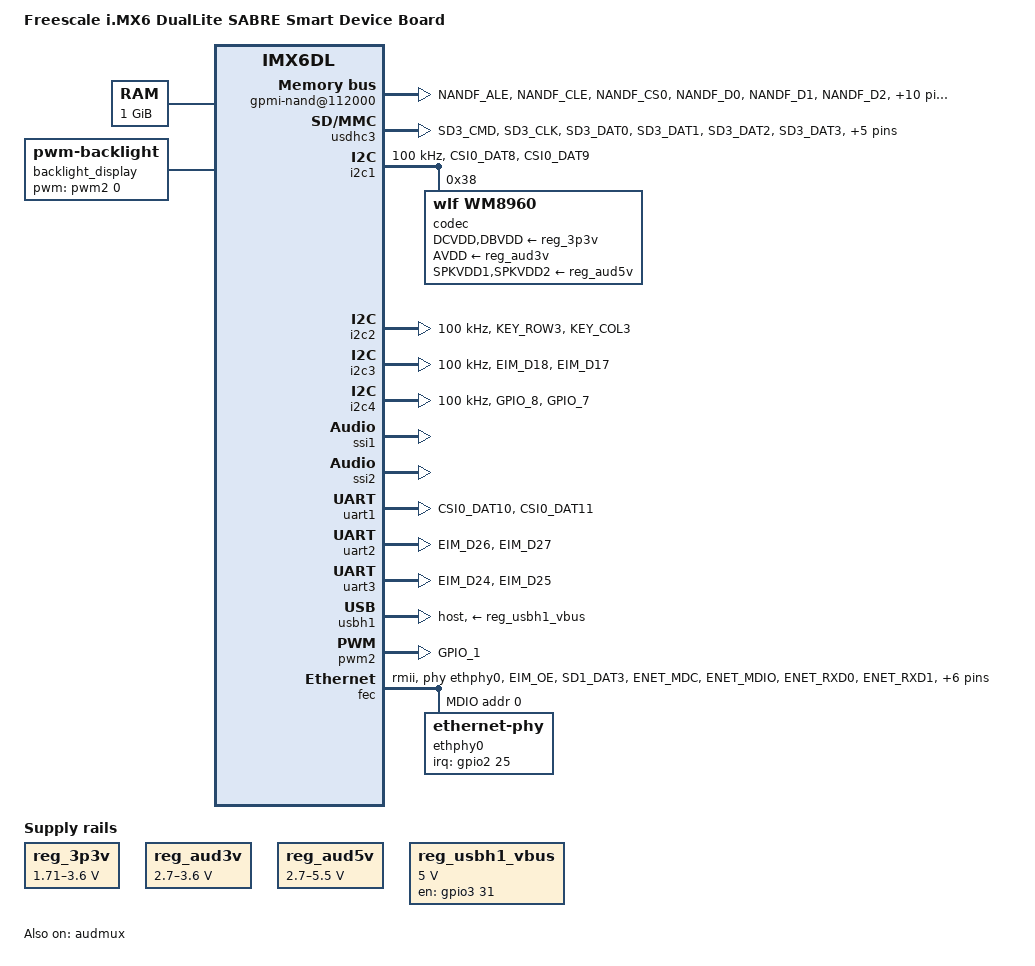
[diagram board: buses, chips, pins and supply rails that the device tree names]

/dts-v1/;
/*#include "imx6dl-onpoom.dtsi"*/
#include "imx6dl.dtsi"
#include <dt-bindings/gpio/gpio.h>
#include <dt-bindings/sound/fsl-imx-audmux.h>
#include "imx6dl-pinfunc.h"

/ {
	model = "Freescale i.MX6 DualLite SABRE Smart Device Board";
	compatible = "fsl,imx6dl-sabresd", "fsl,imx6dl";

	chosen {
        bootargs = "console=ttymxc0,115200 ubi.mtd=2 root=ubi0:rootfs rootfstype=ubifs rootwait rw rootflags=sync mtdparts=gpmi-nand:20m(boot),20m(kernel),400m(rootfs) gpmi_debug_init";
	};

	chosen {
		stdout-path = "serial1:115200n8";
	};

	memory@10000000 {
		reg = <0x10000000 0x40000000>;
	};

	soc {	/* IMAGE PARTITION */
		gpmi-nand@112000 {
			pinctrl-names = "default";
			pinctrl-0 = <&pinctrl_gpmi>;
			status = "okay";

			partition@0 {
				lable = "u-boot";
				reg = <0x0 0x1400000>;
			};

			partition@1400000 {
				lable = "kernel";
				reg = <0x1400000 0x1400000>;
			};

			partition@2800000 {
				lable = "ubifs";
				reg = <0x2800000 0x0>;
			};
		};
	};

	backlight_display: backlight_display {
		compatible = "pwm-backlight";
		pwms = <&pwm2 0 500000000>;
		brightness-levels = <0 4 8 16 32 64 128 255>;
		default-brightness-level = <6>;
	};

	sound {
		compatible = "simple-audio-card";
		simple-audio-card,name = "wm8960-audio";
		simple-audio-card,format = "i2s";
		simple-audio-card,bitclock-master = <&sound_cpu>;
		simple-audio-card,frame-master = <&sound_cpu>;
		simple-audio-card,system-clock-direction-out;
		simple-audio-card,widgets = 
			"Line", "Line In",
			"Line", "Line Out",
			"Speaker", "Ext Spk";
		simple-audio-card,routing =
			"Ext Spk", "HP_L",
			"Ext Spk", "HP_R";

		sound_cpu: simple-audio-card,cpu {
			sound-dai = <&ssi1>;
			system-clock-frequency = <883200>;
			system-clock-direction-out;	  /* 2019.06.24 add by pwk */
			dai-tdm-slot-num = <2>;
			dai-tdm-slot-width = <16>;
			clocks = <&clks IMX6QDL_CLK_SSI1>;
		};

		dailink_slave: simple-audio-card,codec {
			sound-dai = <&codec>;
			system-clock-direction-out;	  /* 2019.06.24 add by pwk */
			clocks = <&clks IMX6QDL_CLK_CKO>;
			clock-names = "mclk";
		};
	};

	clk3686400: clk-uart {
		compatible = "fixed-clock";
		#clock-cells = <0>;
		clock-frequency = <3686400>;
	};

	clk14745600: clock@0 {
		#clock-cells = <0>;
		compatible = "fixed-clock";
		clock-frequency = <14745600>;
	};

#if 0
	reg_usb_h1_vbus: regulator-usb-h1-vbus {
		compatible = "regulator-fixed";
		regulator-name = "usb_h1_vbus";
		regulator-min-microvolt = <5000000>;
		regulator-max-microvolt = <5000000>;
		regulator-boot-on;
		regulator-always-on;
	};
#endif
	reg_3p3v: regulator-3p3v {
		compatible = "regulator-fixed";
		regulator-name = "3P3V";
		regulator-min-microvolt = <1710000>;
		regulator-max-microvolt = <3600000>;
		regulator-boot-on;
	};

	reg_aud3v: regulator-aud3v {
		compatible = "regulator-fixed";
		regulator-name = "AUD3V";
		regulator-min-microvolt = <2700000>;
		regulator-max-microvolt = <3600000>;
		regulator-boot-on;
	};
	
	reg_aud5v: regulator-aud5v {
		compatible = "regulator-fixed";
		regulator-name = "AUD5V";
		regulator-min-microvolt = <2700000>;
		regulator-max-microvolt = <5500000>;
		regulator-boot-on;
	};

	reg_usbh1_vbus: regulator-usbh1-vbus {
		compatible = "regulator-fixed";
		enable-active-high;
		gpio = <&gpio3 31 GPIO_ACTIVE_HIGH>;
		pinctrl-names = "default";
		pinctrl-0 = <&pinctrl_usbh1_vbus>;
		regulator-name = "usb_h1_vbus";
		regulator-min-microvolt = <5000000>;
		regulator-max-microvolt = <5000000>;
		regulator-boot-on;
		regulator-always-on;
	};


};

#if 1
#else
&weim {
	pinctrl-names = "default";
	pinctrl-0 = <&pinctrl_weimcs &pinctrl_weimdev>;
	/*ranges = <0 0 0x8000000 0x0F00000>,
			<1 0 0xC000000 0x0400000>;*/
	status = "okay";

	uart8250@0,0 {
		pinctrl-names = "default";
		pinctrl-0 = <&pinctrl_uart8250_1a>;
		compatible = "ns8250";
		clocks = <&clk14745600>;
		fsl,weim-cs-timing = <0x0000d603 0x0d1d0d01 0x00d20000>;
		reg = <0 0x0 0x1000>;
		reg-shift = <1>;
		reg-io-width = <1>;
		interrupts = <&gpio4 5 IRQ_TYPE_LEVEL_LOW>;
		no-loopback-test;
	};

	uart8250@0,100000 {
		pinctrl-names = "default";
		pinctrl-0 = <&pinctrl_uart8250_1b>;
		compatible = "ns8250";
		clocks = <&clk14745600>;
		fsl,weim-cs-timing = <0x0000d603 0x0d1d0d01 0x00d20000>;
		reg = <0 0x100000 0x1000>;
		reg-shift = <1>;
		reg-io-width = <1>;
		interrupts = <&gpio4 6 IRQ_TYPE_LEVEL_LOW>;
		no-loopback-test;
	};

	uart8250@0,200000 {
		pinctrl-names = "default";
		pinctrl-0 = <&pinctrl_uart8250_1c>;
		compatible = "ns8250";
		clocks = <&clk14745600>;
		fsl,weim-cs-timing = <0x0000d603 0x0d1d0d01 0x00d20000>;
		reg = <0 0x200000 0x1000>;
		reg-shift = <1>;
		reg-io-width = <1>;
		interrupts = <&gpio4 7 IRQ_TYPE_LEVEL_LOW>;
		no-loopback-test;
	};

	uart8250@0,300000 {
		pinctrl-names = "default";
		pinctrl-0 = <&pinctrl_uart8250_1d>;
		compatible = "ns8250";
		clocks = <&clk14745600>;
		fsl,weim-cs-timing = <0x0000d603 0x0d1d0d01 0x00d20000>;
		reg = <0 0x300000 0x1000>;
		reg-shift = <1>;
		reg-io-width = <1>;
		interrupts = <&gpio3 23 IRQ_TYPE_LEVEL_LOW>;
		no-loopback-test;
	};

	uart8250@0,400000 {
		pinctrl-names = "default";
		pinctrl-0 = <&pinctrl_uart8250_2a>;
		compatible = "ns8250";
		clocks = <&clk14745600>;
		fsl,weim-cs-timing = <0x0000d603 0x0d1d0d01 0x00d20000>;
		reg = <0 0x400000 0x1000>;
		reg-shift = <1>;
		reg-io-width = <1>;
		interrupts = <&gpio4 11 IRQ_TYPE_LEVEL_LOW>;
		no-loopback-test;
	};

	uart8250@0,500000 {
		pinctrl-names = "default";
		pinctrl-0 = <&pinctrl_uart8250_2b>;
		compatible = "ns8250";
		clocks = <&clk14745600>;
		fsl,weim-cs-timing = <0x0000d603 0x0d1d0d01 0x00d20000>;
		reg = <0 0x500000 0x1000>;
		reg-shift = <1>;
		reg-io-width = <1>;
		interrupts = <&gpio2 13 IRQ_TYPE_LEVEL_LOW>;
		no-loopback-test;
	};

	uart8250@0,600000 {
		pinctrl-names = "default";
		pinctrl-0 = <&pinctrl_uart8250_2c>;
		compatible = "ns8250";
		clocks = <&clk14745600>;
		fsl,weim-cs-timing = <0x0000d603 0x0d1d0d01 0x00d20000>;
		reg = <0 0x600000 0x1000>;
		reg-shift = <1>;
		reg-io-width = <1>;
		interrupts = <&gpio5 19 IRQ_TYPE_LEVEL_LOW>;
		no-loopback-test;
	};

	uart8250@0,700000 {
		pinctrl-names = "default";
		pinctrl-0 = <&pinctrl_uart8250_2d>;
		compatible = "ns8250";
		clocks = <&clk14745600>;
		fsl,weim-cs-timing = <0x0000d603 0x0d1d0d01 0x00d20000>;
		reg = <0 0x700000 0x1000>;
		reg-shift = <1>;
		reg-io-width = <1>;
		interrupts = <&gpio5 20 IRQ_TYPE_LEVEL_LOW>;
		no-loopback-test;
	};

	uart8250@0,800000 {
		pinctrl-names = "default";
		pinctrl-0 = <&pinctrl_uart8250_3a>;
		compatible = "ns8250";
		clocks = <&clk14745600>;
		fsl,weim-cs-timing = <0x0000d603 0x0d1d0d01 0x00d20000>;
		reg = <0 0x800000 0x1000>;
		reg-shift = <1>;
		reg-io-width = <1>;
		interrupts = <&gpio2 11 IRQ_TYPE_LEVEL_LOW>;
		no-loopback-test;
	};

	uart8250@0,900000 {
		pinctrl-names = "default";
		pinctrl-0 = <&pinctrl_uart8250_3b>;
		compatible = "ns8250";
		clocks = <&clk14745600>;
		fsl,weim-cs-timing = <0x0000d603 0x0d1d0d01 0x00d20000>;
		reg = <0 0x900000 0x1000>;
		reg-shift = <1>;
		reg-io-width = <1>;
		interrupts = <&gpio2 12 IRQ_TYPE_LEVEL_LOW>;
		no-loopback-test;
	};

	uart8250@0,A00000 {
		pinctrl-names = "default";
		pinctrl-0 = <&pinctrl_uart8250_3c>;
		compatible = "ns8250";
		clocks = <&clk14745600>;
		fsl,weim-cs-timing = <0x0000d603 0x0d1d0d01 0x00d20000>;
		reg = <0 0xA00000 0x1000>;
		reg-shift = <1>;
		reg-io-width = <1>;
		interrupts = <&gpio4 10 IRQ_TYPE_LEVEL_LOW>;
		no-loopback-test;
	};

	uart8250@0,B00000 {
		pinctrl-names = "default";
		pinctrl-0 = <&pinctrl_uart8250_3d>;
		compatible = "ns8250";
		clocks = <&clk14745600>;
		fsl,weim-cs-timing = <0x0000d603 0x0d1d0d01 0x00d20000>;
		reg = <0 0xB00000 0x1000>;
		reg-shift = <1>;
		reg-io-width = <1>;
		interrupts = <&gpio4 15 IRQ_TYPE_LEVEL_LOW>;
		no-loopback-test;
	};

	dummy@1,0 {
		fsl,weim-cs-timing = <0x0000d603 0x0d1d0d01 0x00d20000>;
		reg = <0 0x0 0x400000>;
		reg-shift = <1>;
		reg-io-width = <1>;
	};
};
/**/
&weim {
	ranges = <0 0 0x08000000 0x08000000>;
	pinctrl-names = "default";
	pinctrl-0 = <&pinctrl_weimcs &pinctrl_weimdev>;
	status = "okay";

	uart8250_1@4,0 {
		pinctrl-names = "default";
		pinctrl-0 = <&pinctrl_uart8250_1>;
		compatible = "ns8250";
		clocks = <&clk3686400>;
		/*fsl,weim-cs-timing = <0x0000d603 0x0d1d0d01 0x00d20000>;*/
		interrupts = <&gpio4 5 IRQ_TYPE_LEVEL_LOW>,
				<&gpio4 6 IRQ_TYPE_LEVEL_LOW>,
				<&gpio4 7 IRQ_TYPE_LEVEL_LOW>,
				<&gpio3 23 IRQ_TYPE_LEVEL_LOW>,
				<&gpio4 9 IRQ_TYPE_LEVEL_LOW>;
		reg = <3 0x200000 0x1000>;
		reg-shift = <1>;
		reg-io-width = <1>;
		no-loopback-test;
	};

	uart8250_2@4,400000 {
		pinctrl-names = "default";
		pinctrl-0 = <&pinctrl_uart8250_2>;
		compatible = "ns8250";
		clocks = <&clk3686400>;
		/*fsl,weim-cs-timing = <0x0000d603 0x0d1d0d01 0x00d20000>;*/
		interrupts = <&gpio4 11 IRQ_TYPE_LEVEL_LOW>,
				<&gpio2 13 IRQ_TYPE_LEVEL_LOW>,
				<&gpio5 19 IRQ_TYPE_LEVEL_LOW>,
				<&gpio5 20 IRQ_TYPE_LEVEL_LOW>,
				<&gpio5 21 IRQ_TYPE_LEVEL_LOW>;
		reg = <3 0x200000 0x1000>;
		reg-shift = <1>;
		reg-io-width = <1>;
		no-loopback-test;
	};

	uart8250_3@4,800000 {
		pinctrl-names = "default";
		pinctrl-0 = <&pinctrl_uart8250_3>;
		compatible = "ns8250";
		clocks = <&clk3686400>;
		/*fsl,weim-cs-timing = <0x0000d603 0x0d1d0d01 0x00d20000>;*/
		interrupts = <&gpio2 11 IRQ_TYPE_LEVEL_LOW>,
				<&gpio2 12 IRQ_TYPE_LEVEL_LOW>,

				<&gpio4 15 IRQ_TYPE_LEVEL_LOW>,
				<&gpio4 14 IRQ_TYPE_LEVEL_LOW>;
		reg = <3 0x200000 0x1000>;
		reg-shift = <1>;
		reg-io-width = <1>;
		no-loopback-test;
	};

};
#endif

&clks {
	assigned-clocks = <&clks IMX6QDL_CLK_CKO2_SEL>, <&clks IMX6QDL_CLK_SSI2>;
	assigned-clock-parents = <&clks IMX6QDL_CLK_SSI2>;
	assigned-clock-rates = <0>, <122880000>;
};

&audmux {
	pinctrl-names = "default";
	pinctrl-0 = <&pinctrl_audmux>;
	status = "okay";

	ssi1 {
		fsl,audmux-port = <MX51_AUDMUX_PORT1_SSI0>;
		fsl,port-config = <
			IMX_AUDMUX_V2_PTCR_SYN
			IMX_AUDMUX_V2_PDCR_RXDSEL(MX51_AUDMUX_PORT3)
		>;
	};

	aud3 {
		fsl,audmux-port = <MX51_AUDMUX_PORT3>;
		fsl,port-config = <
			(IMX_AUDMUX_V2_PTCR_TFSDIR |
			IMX_AUDMUX_V2_PTCR_TFSEL(MX51_AUDMUX_PORT1_SSI0) |
			IMX_AUDMUX_V2_PTCR_TCLKDIR |
			IMX_AUDMUX_V2_PTCR_TCSEL(MX51_AUDMUX_PORT1_SSI0) |
			IMX_AUDMUX_V2_PTCR_SYN)
			IMX_AUDMUX_V2_PDCR_RXDSEL(MX51_AUDMUX_PORT1_SSI0)
		>;
	};
};

&usdhc3 {
	pinctrl-names = "default";
	pinctrl-0 = <&pinctrl_usdhc3>;
	/*bus-width = <8>;*/
	/*non-removable;*/
	broken-cd;
	/*vmmc-supply = <&reg_3p3v>;*/
	status = "okay";
};

&gpio1 {
	gpio-line-names =
		"", "", "SD2_WP", "", "SD2_CD", "I2C3_SCL",
			"I2C3_SDA", "I2C4_SCL",
		"I2C4_SDA", "", "", "", "", "", "", "",
		"", "PWM3", "", "", "", "", "", "",
		"", "", "", "", "", "", "", "";
};

&gpio3 {
	gpio-line-names =
		"", "", "", "", "", "", "", "",
		"", "", "", "", "", "", "", "",
		"", "", "", "", "", "", "USB_OTG_VBUS", "",
		"UART3_TXD", "UART3_RXD", "", "", "EIM_D28", "", "", "";
};

&gpio4 {
	gpio-line-names =
		"", "", "", "", "", "", "", "",
		"UART5_TXD", "UART5_RXD", "", "", "", "", "", "",
		"GPIO4_16", "GPIO4_17", "GPIO4_18", "GPIO4_19", "",
			"CSPI3_CLK", "CSPI3_MOSI", "CSPI3_MISO",
		"CSPI3_CS0", "CSPI3_CS1", "GPIO4_26", "GPIO4_27",
			"CSPI3_RDY", "PWM1", "PWM2", "GPIO4_31";
};

&gpio5 {
	gpio-line-names =
		"", "", "EIM_A25", "", "", "GPIO5_05", "GPIO5_06",
			"GPIO5_07",
		"GPIO5_08", "CSPI2_CS1", "CSPI2_MOSI", "CSPI2_MISO",
			"CSPI2_CS0", "CSPI2_CLK", "", "",
		"", "", "", "", "", "AUD3_TXC", "AUD3_TXD", "AUD3_TXFS",
		"AUD3_RXD", "", "", "", "", "", "", "";
};

&gpio6 {
};

&gpio7 {
	gpio-line-names =
		"SD3_CD", "SD3_WP", "", "", "", "", "", "",
		"", "", "", "", "", "", "", "",
		"", "", "", "", "", "", "", "",
		"", "", "", "", "", "", "", "";
};

&i2c1 {
	clock-frequency = <100000>;
	pinctrl-names = "default";
	pinctrl-0 = <&pinctrl_i2c1>;
	status = "okay";

	/*codec: wm8960@1a {*/
	codec: wm8960@38 {
		#sound-dai-cells = <0>;
		compatible = "wlf,wm8960";
		reg = <0x38>;
		/*reg = <0x1a>;*/
		status = "okay";
		wlf,shared-lrclk;	/* 시험용 - 확인할 것 */
		DCVDD-supply = <&reg_3p3v>;
		DBVDD-supply = <&reg_3p3v>;
		AVDD-supply = <&reg_aud3v>;
		SPKVDD1-supply = <&reg_aud5v>;
		SPKVDD2-supply = <&reg_aud5v>;
	};
};

&i2c2 {
	clock-frequency = <100000>;
	pinctrl-names = "default";
	pinctrl-0 = <&pinctrl_i2c2>;
	status = "okay";
};

&i2c3 {
	clock-frequency = <100000>;
	pinctrl-names = "default";
	pinctrl-0 = <&pinctrl_i2c3>;
	status = "okay";
};

&i2c4 {
	clock-frequency = <100000>;
	pinctrl-names = "default";
	pinctrl-0 = <&pinctrl_i2c4>;
	status = "okay";
};

&ssi1 {
	#sound-dai-cells = <0>;
	fsl,mode = "i2s-master";
	assigned-clocks = <&clks IMX6QDL_CLK_SSI1_SEL>,
		<&clks IMX6QDL_CLK_PLL4_AUDIO_DIV>,
		<&clks IMX6QDL_CLK_SSI1>;
	assigned-clock-parents = <&clks IMX6QDL_CLK_PLL4_AUDIO_DIV>;
	assigned-clock-rates = <0 786432000 49152000>;
	status = "okay";
};

&ssi2 {
	#sound-dai-cells = <0>;
	assigned-clocks = <&clks IMX6QDL_CLK_SSI2_SEL>,
		<&clks IMX6QDL_CLK_PLL4_AUDIO_DIV>,
		<&clks IMX6QDL_CLK_SSI2>;
	assigned-clock-rates = <0 786432000 12288000>;
	assigned-clock-parents = <&clks IMX6QDL_CLK_PLL4_AUDIO_DIV>;
	fsl,ssi-asynchronous;
	status = "okay";
};

&uart1 {
	pinctrl-names = "default";
	pinctrl-0 = <&pinctrl_uart1>;
	status = "okay";
};

&uart2 {
	pinctrl-names = "default";
	pinctrl-0 = <&pinctrl_uart2>;
	status = "okay";
};

&uart3 {
	pinctrl-names = "default";
	pinctrl-0 = <&pinctrl_uart3>;
	status = "okay";
};

&usbh1 {
	vbus-supply = <&reg_usbh1_vbus>;
	dr_mode = "host";
	status = "okay";
};

&pwm2 {
	pinctrl-names = "default";
	pinctrl-0 = <&pinctrl_pwm2>;
	status = "okay";
};

&fec {
	pinctrl-names = "default";
	pinctrl-0 = <&pinctrl_enet>;
	phy-mode = "rmii";
	phy-handle = <&ethphy0>;
	phy-reset-gpios = <&gpio1 21 GPIO_ACTIVE_LOW>;
	phy-reset-duration = <5>;
	fsl,magic-packet;
	status = "okay";

	mdio {
		#address-cells = <1>;
		#size-cells = <0>;

		ethphy0: ethernet-phy@0 {
			reg = <0>;
			max-speed = <100>;
			/*reset-gpios = <&gpio1 21 GPIO_ACTIVE_LOW>;*/
			interrupt-parent = <&gpio2>;
			interrupts = <25 IRQ_TYPE_LEVEL_LOW>;
			smsc,disable-energy-detect;
		};
	};
};

&iomuxc {
	pinctrl-names = "default";

#if 0
	pinctrl-0 = <&pinctrl_hog>;

	hog {
		pinctrl_hog: hoggrp {
			fsl,pins = <
				MX6QDL_PAD_EIM_BCLK__GPIO6_IO31		0x1b0b0
				MX6QDL_PAD_SD4_DAT3__GPIO2_IO11		0x1b0b0
				MX6QDL_PAD_SD4_DAT4__GPIO2_IO12		0x1b0b0
				MX6QDL_PAD_SD4_DAT2__GPIO2_IO10		0x1b0b0
				MX6QDL_PAD_NANDF_CS3__GPIO6_IO16	0x1b0b0
				MX6QDL_PAD_KEY_ROW0__GPIO4_IO07		0x0b0b0
				MX6QDL_PAD_SD1_DAT0__GPIO1_IO16		0x0b0b0
				MX6QDL_PAD_DISP0_DAT9__GPIO4_IO30	0x0b0b0
				MX6QDL_PAD_SD4_DAT0__GPIO2_IO08		0x0b0b0
			>;
		};
	};
#endif

	imx6-riotboard {
		pinctrl_gpmi: gpmigrp {
			fsl,pins = <
				MX6QDL_PAD_NANDF_ALE__NAND_ALE		0xb0b1
				MX6QDL_PAD_NANDF_CLE__NAND_CLE		0xb0b1
				MX6QDL_PAD_NANDF_CS0__NAND_CE0_B	0xb0b1
				MX6QDL_PAD_NANDF_D0__NAND_DATA00	0xb0b1
				MX6QDL_PAD_NANDF_D1__NAND_DATA01	0xb0b1
				MX6QDL_PAD_NANDF_D2__NAND_DATA02	0xb0b1
				MX6QDL_PAD_NANDF_D3__NAND_DATA03	0xb0b1
				MX6QDL_PAD_NANDF_D4__NAND_DATA04	0xb0b1
				MX6QDL_PAD_NANDF_D5__NAND_DATA05	0xb0b1
				MX6QDL_PAD_NANDF_D6__NAND_DATA06	0xb0b1
				MX6QDL_PAD_NANDF_D7__NAND_DATA07	0xb0b1
				MX6QDL_PAD_NANDF_RB0__NAND_READY_B	0xb000
				MX6QDL_PAD_NANDF_WP_B__NAND_WP_B	0xb0b1
				MX6QDL_PAD_SD4_CLK__NAND_WE_B		0xb0b1
				MX6QDL_PAD_SD4_CMD__NAND_RE_B		0xb0b1
				MX6QDL_PAD_NANDF_CS1__NAND_CE1_B	0xb0b1
			>;
		};

		pinctrl_audmux: audmuxgrp {
			fsl,pins = <
				MX6QDL_PAD_CSI0_DAT7__AUD3_RXD		0x130b0
				MX6QDL_PAD_CSI0_DAT4__AUD3_TXC		0x130b0
				MX6QDL_PAD_CSI0_DAT5__AUD3_TXD		0x110b0
				MX6QDL_PAD_CSI0_DAT6__AUD3_TXFS		0x130b0
				MX6QDL_PAD_GPIO_0__CCM_CLKO1		0x130b0		/* CAM_MCLK */
			>;
		};

		pinctrl_i2c1: i2c1grp {
			fsl,pins = <
				MX6QDL_PAD_CSI0_DAT8__I2C1_SDA		0x4001b8b1
				MX6QDL_PAD_CSI0_DAT9__I2C1_SCL		0x4001b8b1
			>;
		};

		pinctrl_i2c2: i2c2grp {
			fsl,pins = <
				MX6QDL_PAD_KEY_ROW3__I2C2_SDA		0x4001b8b1
				MX6QDL_PAD_KEY_COL3__I2C2_SCL		0x4001b8b1
			>;
		};

		pinctrl_i2c3: i2c3grp {
			fsl,pins = <
				MX6QDL_PAD_EIM_D18__I2C3_SDA		0x4001b8b1
				MX6QDL_PAD_EIM_D17__I2C3_SCL		0x4001b8b1
			>;
		};

		pinctrl_i2c4: i2c4grp {
			fsl,pins = <
				MX6QDL_PAD_GPIO_8__I2C4_SDA		0x4001b8b1
				MX6QDL_PAD_GPIO_7__I2C4_SCL		0x4001b8b1
			>;
		};

		pinctrl_uart1: uart1grp {
			fsl,pins = <
				MX6QDL_PAD_CSI0_DAT10__UART1_TX_DATA	0x1b0b1
				MX6QDL_PAD_CSI0_DAT11__UART1_RX_DATA	0x1b0b1
			>;
		};

		pinctrl_uart2: uart2grp {
			fsl,pins = <
				MX6QDL_PAD_EIM_D26__UART2_TX_DATA		0x1b0b1
				MX6QDL_PAD_EIM_D27__UART2_RX_DATA		0x1b0b1
			>;
		};

		pinctrl_uart3: uart3grp {
			fsl,pins = <
				MX6QDL_PAD_EIM_D24__UART3_TX_DATA		0x1b0b1
				MX6QDL_PAD_EIM_D25__UART3_RX_DATA		0x1b0b1
			>;
		};

#if 0
		pinctrl_uart8250_1a: uart82501agrp {
			fsl,pins = <
				MX6QDL_PAD_GPIO_19__GPIO4_IO05			0x0
			>;
		};

		pinctrl_uart8250_1b: uart82501bgrp {
			fsl,pins = <
				MX6QDL_PAD_KEY_COL0__GPIO4_IO06			0x0
			>;
		};

		pinctrl_uart8250_1c: uart82501cgrp {
			fsl,pins = <
				MX6QDL_PAD_KEY_ROW0__GPIO4_IO07			0x0
			>;
		};

		pinctrl_uart8250_1d: uart82501dgrp {
			fsl,pins = <
				MX6QDL_PAD_EIM_D23__GPIO3_IO23			0x0
			>;
		};

		pinctrl_uart8250_2a: uart82502agrp {
			fsl,pins = <
				MX6QDL_PAD_KEY_ROW2__GPIO4_IO11			0x0
			>;
		};

		pinctrl_uart8250_2b: uart82502bgrp {
			fsl,pins = <
				MX6QDL_PAD_SD4_DAT5__GPIO2_IO13			0x0
			>;
		};

		pinctrl_uart8250_2c: uart82502cgrp {
			fsl,pins = <
				MX6QDL_PAD_CSI0_MCLK__GPIO5_IO19			0x0
			>;
		};

		pinctrl_uart8250_2d: uart82502dgrp {
			fsl,pins = <
				MX6QDL_PAD_CSI0_DATA_EN__GPIO5_IO20			0x0
			>;
		};

		pinctrl_uart8250_3a: uart82503agrp {
			fsl,pins = <
				MX6QDL_PAD_SD4_DAT3__GPIO2_IO11			0x0
			>;
		};

		pinctrl_uart8250_3b: uart82503bgrp {
			fsl,pins = <
				MX6QDL_PAD_SD4_DAT4__GPIO2_IO12			0x0
			>;
		};

		pinctrl_uart8250_3c: uart82503cgrp {
			fsl,pins = <
				MX6QDL_PAD_KEY_COL2__GPIO4_IO10			0x0
			>;
		};

		pinctrl_uart8250_3d: uart82503dgrp {
			fsl,pins = <
				MX6QDL_PAD_KEY_ROW4__GPIO4_IO15			0x0
			>;
		};

		pinctrl_weimcs: weimcsgrp {
			fsl,pins = <
				MX6QDL_PAD_EIM_CS0__EIM_CS0_B			0xb0b1
				MX6QDL_PAD_EIM_CS1__EIM_CS1_B			0xb0b1
			>;
		};

		pinctrl_weimdev: weimdevgrp {
			fsl,pins = <
				MX6QDL_PAD_EIM_OE__EIM_OE_B			0xb0b1
				MX6QDL_PAD_EIM_RW__EIM_RW			0xb0b1

				MX6QDL_PAD_CSI0_DAT12__EIM_DATA08		0x1b0b0
				MX6QDL_PAD_CSI0_DAT13__EIM_DATA09		0x1b0b0
				MX6QDL_PAD_CSI0_DAT14__EIM_DATA10		0x1b0b0
				MX6QDL_PAD_CSI0_DAT15__EIM_DATA11		0x1b0b0
				MX6QDL_PAD_CSI0_DAT16__EIM_DATA12		0x1b0b0
				MX6QDL_PAD_CSI0_DAT17__EIM_DATA13		0x1b0b0
				MX6QDL_PAD_CSI0_DAT18__EIM_DATA14		0x1b0b0
				MX6QDL_PAD_CSI0_DAT19__EIM_DATA15		0x1b0b0

				MX6QDL_PAD_EIM_A16__EIM_ADDR16			0xb0b1
				MX6QDL_PAD_EIM_A17__EIM_ADDR17			0xb0b1
				MX6QDL_PAD_EIM_A18__EIM_ADDR18			0xb0b1
				MX6QDL_PAD_EIM_A19__EIM_ADDR19			0xb0b1
				MX6QDL_PAD_EIM_A20__EIM_ADDR20			0xb0b1
				MX6QDL_PAD_EIM_A21__EIM_ADDR21			0xb0b1
				MX6QDL_PAD_EIM_A22__EIM_ADDR22			0xb0b1
				MX6QDL_PAD_EIM_A23__EIM_ADDR23			0xb0b1
			>;
		};
#endif
		pinctrl_usbh1_vbus: usbh1grp {
			fsl,pins = <
				MX6QDL_PAD_EIM_D31__USB_H1_PWR				0x130b0
			>;
		};

		pinctrl_pwm2: pwm2grp {
			fsl,pins = <
				MX6QDL_PAD_GPIO_1__PWM2_OUT					0x0001b0b0
			>;
		};

		pinctrl_usdhc3: usdhc3grp {
			fsl,pins = <
				MX6QDL_PAD_SD3_CMD__SD3_CMD		0x17059
				MX6QDL_PAD_SD3_CLK__SD3_CLK		0x10059
				MX6QDL_PAD_SD3_DAT0__SD3_DATA0		0x17059
				MX6QDL_PAD_SD3_DAT1__SD3_DATA1		0x17059
				MX6QDL_PAD_SD3_DAT2__SD3_DATA2		0x17059
				MX6QDL_PAD_SD3_DAT3__SD3_DATA3		0x17059
				MX6QDL_PAD_SD3_DAT4__SD3_DATA4		0x17059
				MX6QDL_PAD_SD3_DAT5__SD3_DATA5		0x17059
				MX6QDL_PAD_SD3_DAT6__SD3_DATA6		0x17059
				MX6QDL_PAD_SD3_DAT7__SD3_DATA7		0x17059
				MX6QDL_PAD_SD3_RST__SD3_RESET		0x17059
			>;
		};

#if 1
		pinctrl_enet: enetgrp {
			fsl,pins = <
				MX6QDL_PAD_EIM_OE__GPIO2_IO25		0x1b0b0	  /* eth chip interrupt */
				MX6QDL_PAD_SD1_DAT3__GPIO1_IO21		0x1b0b0	  /* eth chip reset */
				MX6QDL_PAD_ENET_MDC__ENET_MDC		0x1b0a8
				MX6QDL_PAD_ENET_MDIO__ENET_MDIO		0x1b0a8
				MX6QDL_PAD_ENET_RXD0__ENET_RX_DATA0	0x1b0a8
				MX6QDL_PAD_ENET_RXD1__ENET_RX_DATA1	0x1b0a8
				MX6QDL_PAD_ENET_CRS_DV__ENET_RX_EN	0x1b0a8
				MX6QDL_PAD_ENET_TX_EN__ENET_TX_EN	0x1b0a8
				MX6QDL_PAD_ENET_TXD0__ENET_TX_DATA0	0x1b0a8
				MX6QDL_PAD_ENET_TXD1__ENET_TX_DATA1	0x1b0a8
				MX6QDL_PAD_GPIO_16__ENET_REF_CLK	0x4001b0a8
			>;
		};
#endif

		/* gigabit ethernet */
		/*pinctrl_genet: genetgrp {
			fsl,pins = <
				MX6QDL_PAD_ENET_MDIO__ENET_MDIO		0x1b0b0
				MX6QDL_PAD_ENET_MDC__ENET_MDC		0x1b0b0
				MX6QDL_PAD_RGMII_TXC__RGMII_TXC		0x1b030
				MX6QDL_PAD_RGMII_TD0__RGMII_TD0		0x1b030
				MX6QDL_PAD_RGMII_TD1__RGMII_TD1		0x1b030
				MX6QDL_PAD_RGMII_TD2__RGMII_TD2		0x1b030
				MX6QDL_PAD_RGMII_TD3__RGMII_TD3		0x1b030
				MX6QDL_PAD_RGMII_TX_CTL__RGMII_TX_CTL	0x1b030
				MX6QDL_PAD_ENET_REF_CLK__ENET_TX_CLK	0x1b0b0
				MX6QDL_PAD_RGMII_RXC__RGMII_RXC		0x1b030
				MX6QDL_PAD_RGMII_RD0__RGMII_RD0		0x1b030
				MX6QDL_PAD_RGMII_RD1__RGMII_RD1		0x1b030
				MX6QDL_PAD_RGMII_RD2__RGMII_RD2		0x1b030
				MX6QDL_PAD_RGMII_RD3__RGMII_RD3		0x1b030
				MX6QDL_PAD_RGMII_RX_CTL__RGMII_RX_CTL	0x1b030
				MX6QDL_PAD_GPIO_16__ENET_REF_CLK	0x4001b0a8
			>;
		};*/
	};
};











